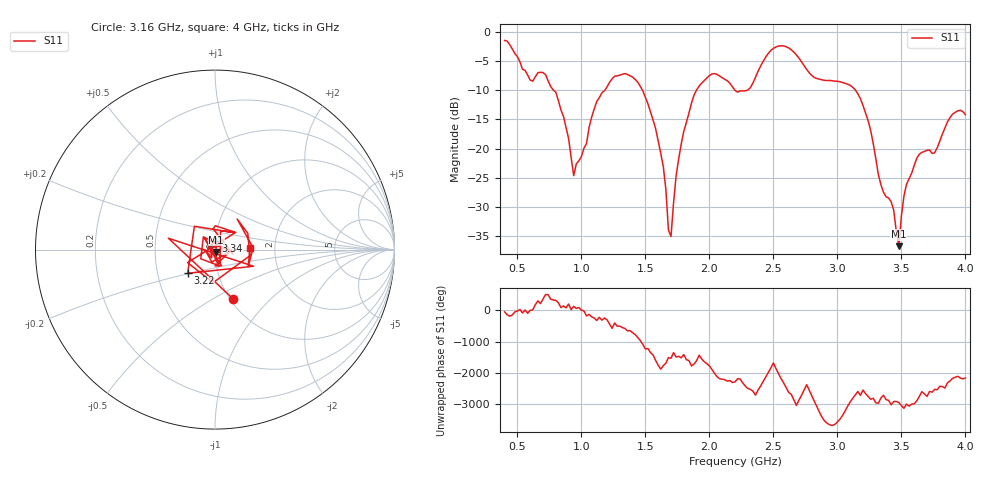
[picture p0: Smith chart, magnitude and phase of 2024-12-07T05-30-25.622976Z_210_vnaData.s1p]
!Created with skrf (http://scikit-rf.org).
# Hz S RI R 50.0
!freq ReS11 ImS11
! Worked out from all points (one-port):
!   181 points, 400 MHz to 4 GHz, reference 50 ohm
!   lowest |S11| = -36.8 dB at 3.48 GHz (marker M1), VSWR 1.03, Z = 50.6 - j1.31 ohm
!   |S11| at or under -10 dB: 782.2 MHz to 1.183 GHz (400.4 MHz wide, 40.8 % of centre); 1.477 GHz to 1.899 GHz (421.9 MHz wide, 25 % of centre); 3.142 GHz to end of sweep (the widest 3 of 4)
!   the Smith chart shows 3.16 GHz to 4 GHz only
!   S11 on the Smith chart (normalised r, x): 3.16 GHz: 1.04, -0.63; 3.22 GHz: 0.71, -0.20; 3.34 GHz: 1.01, +0.10; 4 GHz: 1.48, +0.03
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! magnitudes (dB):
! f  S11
! 400 MHz  -1.5
! 600 MHz  -8.3
! 720 MHz  -7.3
! 860 MHz  -14.5
! 940 MHz  -24.6
! 1.12 GHz  -11.9
! 1.3 GHz  -7.4
! 1.44 GHz  -8.6
! 1.54 GHz  -13.7
! 1.64 GHz  -23.1
! 1.68 GHz  -34.0
! 1.7 GHz  -35.1
! 1.76 GHz  -21.8
! 1.92 GHz  -9.3
! 2.04 GHz  -7.1
! 2.2 GHz  -10.0
! 2.5 GHz  -2.8
! 2.66 GHz  -3.5
! 3.1 GHz  -9.1
! 3.16 GHz  -10.6
! 3.22 GHz  -13.9
! 3.34 GHz  -26.2
! 3.44 GHz  -30.6
! 3.48 GHz  -36.8
! 3.52 GHz  -28.2
! 3.56 GHz  -25.2
! 3.9 GHz  -14.1
! 4 GHz  -14.2
